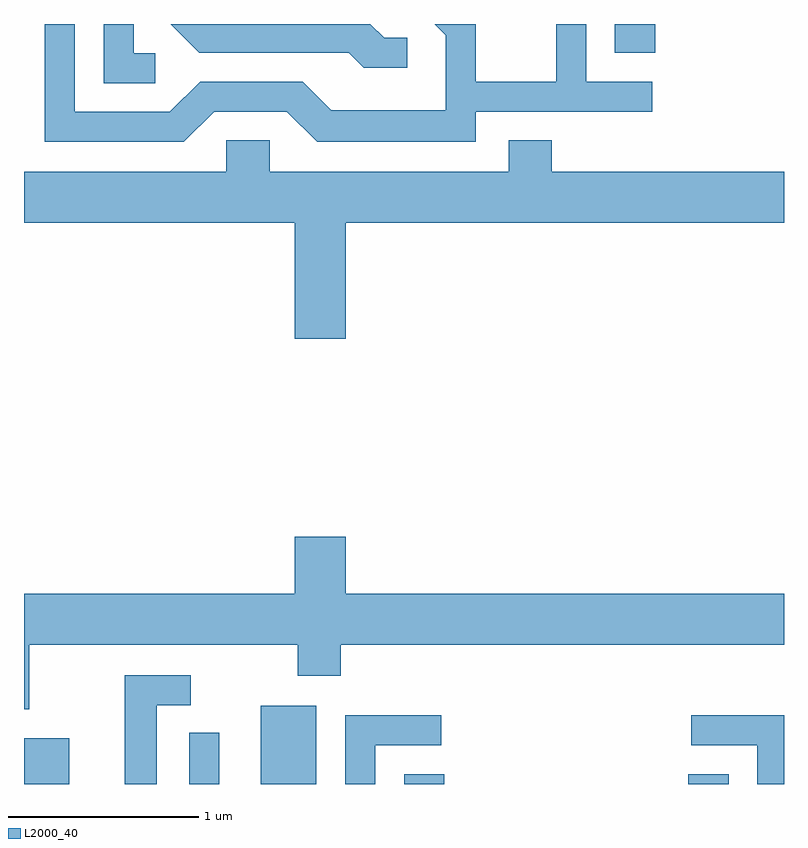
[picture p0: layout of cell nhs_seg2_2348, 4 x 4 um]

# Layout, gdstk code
import gdstk
lib = gdstk.Library(unit=1e-6, precision=1e-09)
def R(c, l, rs):  # rectangles x0, y0, x1, y1
    for r in rs: c.add(gdstk.rectangle(r[:2], r[2:], *l))
def P(c, l, *ps):  # polygons
    for p in ps: c.add(gdstk.Polygon(p, *l))
L2000_40 = (2000, 40)

nhs_seg2_2348 = lib.new_cell('nhs_seg2_2348')
R(nhs_seg2_2348, L2000_40, [(253.611,1049.802,253.849,1050.044), (254.481,1049.802,254.639,1050.073), (254.856,1049.802,255.149,1050.214), (255.611,1049.802,255.824,1049.854), (257.106,1049.802,257.319,1049.854), (256.721,1053.651,256.934,1053.802)])
P(nhs_seg2_2348, L2000_40, [(255.628,1053.729),(255.507,1053.729),(255.434,1053.802),(254.383,1053.802),(254.534,1053.651),(255.319,1053.651),(255.399,1053.571),(255.628,1053.571)],
  [(254.612,1053.341),(254.994,1053.341),(255.154,1053.181),(255.989,1053.181),(255.989,1053.341),(256.918,1053.341),(256.918,1053.499),(256.569,1053.499),(256.569,1053.802),(256.411,1053.802),(256.411,1053.499),(255.989,1053.499),(255.989,1053.802),(255.773,1053.802),(255.831,1053.744),(255.831,1053.349),(255.227,1053.349),(255.077,1053.499),(254.539,1053.499),(254.379,1053.339),(253.879,1053.339),(253.879,1053.802),(253.721,1053.802),(253.721,1053.181),(254.452,1053.181)],
  [(254.303,1053.649),(254.189,1053.649),(254.189,1053.802),(254.031,1053.802),(254.031,1053.491),(254.303,1053.491)],
  [(255.304,1052.756),(257.611,1052.756),(257.611,1053.024),(256.389,1053.024),(256.389,1053.189),(256.161,1053.189),(256.161,1053.024),(254.904,1053.024),(254.904,1053.189),(254.676,1053.189),(254.676,1053.024),(253.611,1053.024),(253.611,1052.756),(255.036,1052.756),(255.036,1052.146),(255.304,1052.146)],
  [(253.639,1050.536),(255.051,1050.536),(255.051,1050.371),(255.279,1050.371),(255.279,1050.536),(257.611,1050.536),(257.611,1050.804),(255.304,1050.804),(255.304,1051.104),(255.036,1051.104),(255.036,1050.804),(253.611,1050.804),(253.611,1050.196),(253.639,1050.196)],
  [(254.309,1050.216),(254.488,1050.216),(254.488,1050.374),(254.141,1050.374),(254.141,1049.802),(254.309,1049.802)],
  [(257.611,1050.164),(257.123,1050.164),(257.123,1050.006),(257.471,1050.006),(257.471,1049.802),(257.611,1049.802)],
  [(255.459,1050.006),(255.808,1050.006),(255.808,1050.164),(255.301,1050.164),(255.301,1049.802),(255.459,1049.802)])

lib.write_gds('nhs_seg2_2348.gds')
